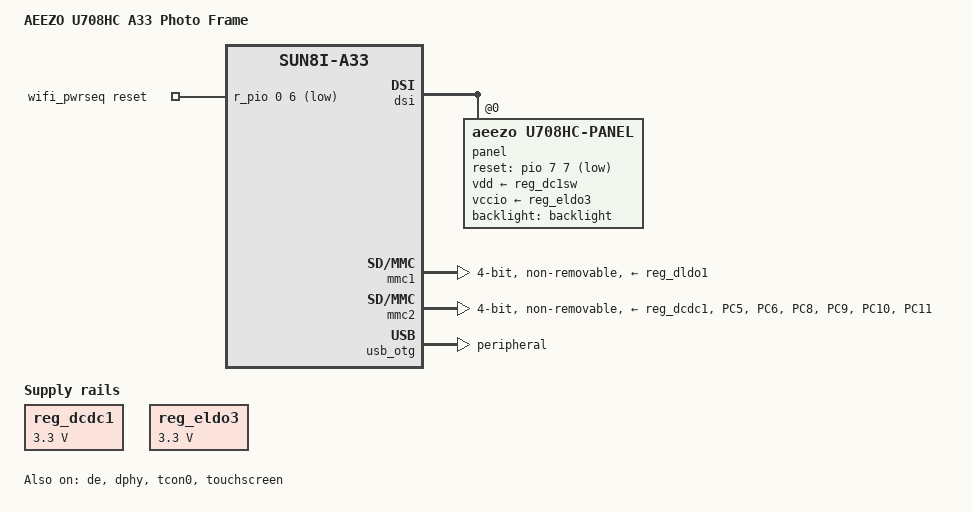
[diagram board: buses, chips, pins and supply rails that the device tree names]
// SPDX-License-Identifier: (GPL-2.0+ OR MIT)
/*
 * AEEZO 10.1" digital photo frame, YHK "A33-Tablet" board, sys_config machine U708HC.
 * Pin/voltage values come from the vendor sys_config dump (lcd0_para, ctp_para, mmc0_para,
 * power_sply); the panel is a JD9365 that matches the Chongzhou CZ101B4001 init table.
 *
 * The AIC8800DC Wi-Fi (mmc1) uses the out-of-tree radxa-pkg/aic8800 SDIO driver.
 */

/dts-v1/;
#include "sun8i-a33.dtsi"
#include "sunxi-reference-design-tablet.dtsi"
#include "sun8i-reference-design-tablet.dtsi"

/ {
	model = "AEEZO U708HC A33 Photo Frame";
	compatible = "aeezo,u708hc", "allwinner,sun8i-a33";

	aliases {
		serial0 = &r_uart;
	};

	/* vendor wifi_para: AIC8800DC on SDIO mmc1, wl_reg_on = PL6 (high = on) */
	wifi_pwrseq: pwrseq {
		compatible = "mmc-pwrseq-simple";
		reset-gpios = <&r_pio 0 6 GPIO_ACTIVE_LOW>; /* PL6 */
		post-power-on-delay-ms = <200>;
	};
};

/* vendor: lcd_pwm_freq 50000 Hz, lcd_pwm_pol 0 */
&backlight {
	pwms = <&pwm 0 20000 0>;
};

&de {
	status = "okay";
};

&dphy {
	status = "okay";
};

&dsi {
	vcc-dsi-supply = <&reg_dcdc1>;
	status = "okay";

	panel@0 {
		compatible = "aeezo,u708hc-panel", "jadard,jd9365da-h3";
		reg = <0>;
		vdd-supply = <&reg_dc1sw>;	/* vendor lcd_power */
		vccio-supply = <&reg_eldo3>;	/* vendor lcd_power1 */
		reset-gpios = <&pio 7 7 GPIO_ACTIVE_LOW>; /* PH7, vendor lcd_gpio_0 */
		backlight = <&backlight>;
	};
};

/*
 * AIC8800DC Wi-Fi (out-of-tree aic8800 SDIO driver). Capped like the eMMC until the bus is proven
 * at higher rates on this board.
 */
&mmc1 {
	pinctrl-names = "default";
	pinctrl-0 = <&mmc1_pg_pins>;
	vmmc-supply = <&reg_dldo1>;
	mmc-pwrseq = <&wifi_pwrseq>;
	bus-width = <4>;
	non-removable;
	max-frequency = <12500000>;
	status = "okay";
};

/* vendor card2_boot_para: 4-bit eMMC on PC5 (clk), PC6 (cmd), PC8-PC11 (d0-d3) */
&mmc2 {
	pinctrl-names = "default";
	pinctrl-0 = <&mmc2_4bit_pins_aeezo>;
	vmmc-supply = <&reg_dcdc1>;
	bus-width = <4>;
	non-removable;
	allwinner,no-ddr;	/* DDR52 reads hang on this board; local sunxi-mmc patch */
	/*
	 * Writes fail at 25MHz and up with the generic A20 delay-chain phases (wtest 2026-11-04:
	 * 400kHz and 12.5MHz write+read-back OK, 25MHz data error and the card wedges).
	 */
	max-frequency = <12500000>;
	status = "okay";
};

&pio {
	mmc2_4bit_pins_aeezo: mmc2-4bit-pins-aeezo {
		pins = "PC5", "PC6", "PC8", "PC9", "PC10", "PC11";
		function = "mmc2";
		drive-strength = <30>;
		bias-pull-up;
	};
};

/* vendor dcdc1_vol 3300 (reference design runs 3.0V) */
&reg_dcdc1 {
	regulator-min-microvolt = <3300000>;
	regulator-max-microvolt = <3300000>;
	regulator-name = "vcc-3v3";
};

/* vendor eldo3_vol 3300 */
&reg_eldo3 {
	regulator-min-microvolt = <3300000>;
	regulator-max-microvolt = <3300000>;
	regulator-name = "vcc-lcd-io";
};

&tcon0 {
	status = "okay";
};

/*
 * vendor ctp_para: gsl_m86_hd on twi0 @0x40, INT PB5, wake PH1 (both from the reference
 * dtsi), powered from axp22_ldoio1 at 3.3V. Firmware is GSLX680_FW_M86HD from gslX680new.ko.
 */
&touchscreen {
	compatible = "silead,gsl1680";
	vddio-supply = <&reg_ldo_io1>;
	avdd-supply = <&reg_ldo_io1>;
	firmware-name = "gsl1680-aeezo-u708hc.fw";
	/*
	 * The firmware reports a 960x640 space (measured edges 13..947 x 14..625). Inverting
	 * both raw axes and swapping maps it onto the panel's native portrait 800x1280 frame.
	 */
	touchscreen-size-x = <960>;
	touchscreen-size-y = <640>;
	touchscreen-inverted-x;
	touchscreen-inverted-y;
	touchscreen-swapped-x-y;
	status = "okay";
};

/* Gadget-only for bring-up: the frame shows up on the host as a USB serial console. */
&usb_otg {
	dr_mode = "peripheral";
};

&usbphy {
	/delete-property/ usb0_id_det-gpios;
};
